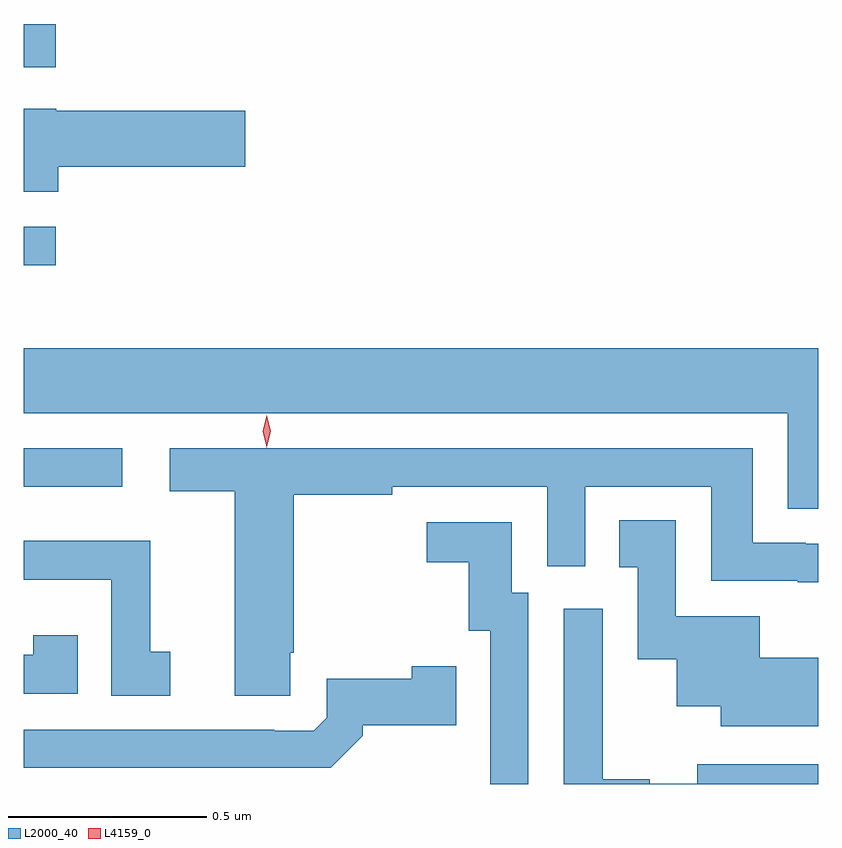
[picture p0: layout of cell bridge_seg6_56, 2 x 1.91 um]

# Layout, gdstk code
import gdstk
lib = gdstk.Library(unit=1e-6, precision=1e-09)
def R(c, l, rs):  # rectangles x0, y0, x1, y1
    for r in rs: c.add(gdstk.rectangle(r[:2], r[2:], *l))
def P(c, l, *ps):  # polygons
    for p in ps: c.add(gdstk.Polygon(p, *l))
L2000_40 = (2000, 40)
L4159_0 = (4159, 0)

bridge_seg6_56 = lib.new_cell('bridge_seg6_56')
R(bridge_seg6_56, L2000_40, [(1061.612,965.798,1061.86,965.895), (1061.612,966.357,1061.692,966.453), (1061.612,966.855,1061.692,966.964)])
P(bridge_seg6_56, L2000_40, [(1061.698,966.604),(1062.169,966.604),(1062.169,966.746),(1061.694,966.746),(1061.694,966.751),(1061.612,966.751),(1061.612,966.542),(1061.698,966.542)],
  [(1063.612,966.148),(1061.612,966.148),(1061.612,965.984),(1063.536,965.984),(1063.536,965.743),(1063.612,965.743)],
  [(1062.283,965.38),(1062.291,965.38),(1062.291,965.779),(1062.539,965.779),(1062.539,965.799),(1062.93,965.799),(1062.93,965.598),(1063.026,965.598),(1063.026,965.799),(1063.343,965.799),(1063.343,965.562),(1063.561,965.562),(1063.561,965.558),(1063.612,965.558),(1063.612,965.655),(1063.581,965.655),(1063.581,965.658),(1063.447,965.658),(1063.447,965.895),(1061.979,965.895),(1061.979,965.787),(1062.143,965.787),(1062.143,965.272),(1062.283,965.272)],
  [(1063.612,965.368),(1063.465,965.368),(1063.465,965.473),(1063.254,965.473),(1063.254,965.714),(1063.111,965.714),(1063.111,965.596),(1063.158,965.596),(1063.158,965.364),(1063.256,965.364),(1063.256,965.246),(1063.367,965.246),(1063.367,965.195),(1063.612,965.195)],
  [(1062.882,965.532),(1062.84,965.532),(1062.84,965.709),(1062.627,965.709),(1062.627,965.608),(1062.732,965.608),(1062.732,965.436),(1062.786,965.436),(1062.786,965.05),(1062.882,965.05)],
  [(1061.98,965.383),(1061.93,965.383),(1061.93,965.662),(1061.612,965.662),(1061.612,965.564),(1061.832,965.564),(1061.832,965.272),(1061.98,965.272)],
  [(1063.612,965.1),(1063.308,965.1),(1063.308,965.051),(1063.188,965.051),(1063.188,965.062),(1063.07,965.062),(1063.07,965.491),(1062.972,965.491),(1062.972,965.05),(1063.612,965.05)],
  [(1061.747,965.425),(1061.636,965.425),(1061.636,965.375),(1061.612,965.375),(1061.612,965.277),(1061.747,965.277)],
  [(1062.465,965.171),(1062.465,965.198),(1062.701,965.198),(1062.701,965.347),(1062.589,965.347),(1062.589,965.315),(1062.375,965.315),(1062.375,965.217),(1062.342,965.184),(1062.242,965.184),(1062.242,965.187),(1061.612,965.187),(1061.612,965.091),(1062.385,965.091)])
P(bridge_seg6_56, L4159_0, [(1062.224,965.897),(1062.224,965.898),(1062.214,965.938),(1062.224,965.979),(1062.224,965.979),(1062.224,965.979),(1062.234,965.938),(1062.224,965.898)])

lib.write_gds('bridge_seg6_56.gds')
